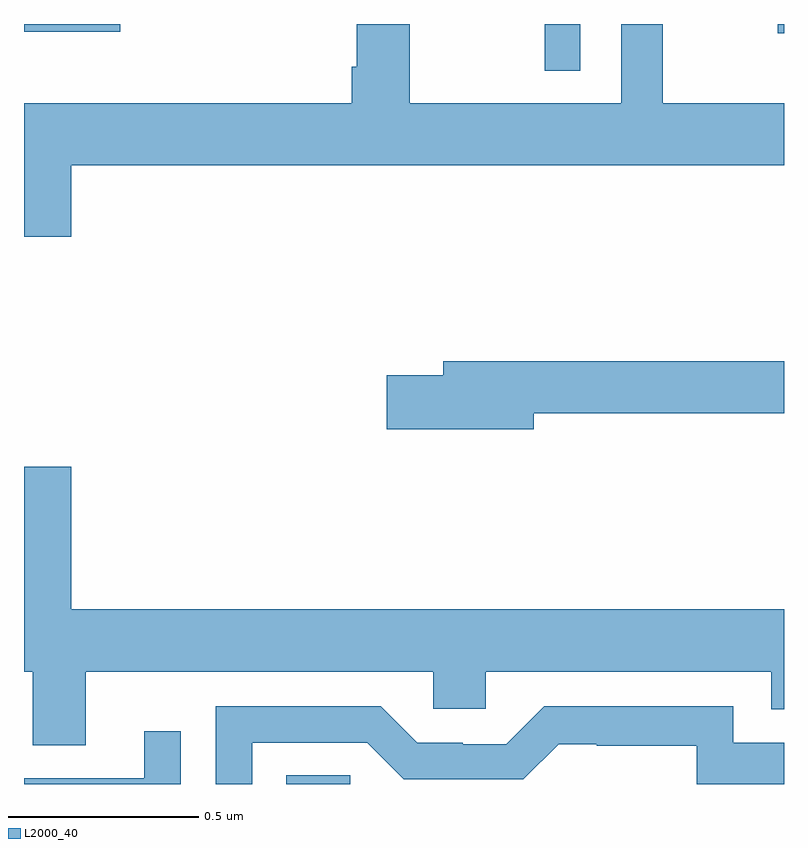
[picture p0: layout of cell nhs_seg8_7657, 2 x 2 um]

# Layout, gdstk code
import gdstk
lib = gdstk.Library(unit=1e-6, precision=1e-09)
def R(c, l, rs):  # rectangles x0, y0, x1, y1
    for r in rs: c.add(gdstk.rectangle(r[:2], r[2:], *l))
def P(c, l, *ps):  # polygons
    for p in ps: c.add(gdstk.Polygon(p, *l))
L2000_40 = (2000, 40)

nhs_seg8_7657 = lib.new_cell('nhs_seg8_7657')
R(nhs_seg8_7657, L2000_40, [(213.69,1086.9,213.859,1086.923), (214.371,1088.777,214.464,1088.9), (214.983,1088.876,215,1088.9)])
P(nhs_seg8_7657, L2000_40, [(213.124,1088.528),(215,1088.528),(215,1088.692),(214.681,1088.692),(214.681,1088.9),(214.572,1088.9),(214.572,1088.692),(214.015,1088.692),(214.015,1088.9),(213.875,1088.9),(213.875,1088.788),(213.863,1088.788),(213.863,1088.692),(213,1088.692),(213,1088.34),(213.124,1088.34)],
  [(213.253,1088.9),(213,1088.9),(213,1088.88),(213.035,1088.88),(213.035,1088.879),(213.253,1088.879)],
  [(214.342,1087.876),(215,1087.876),(215,1088.012),(214.103,1088.012),(214.103,1087.976),(213.954,1087.976),(213.954,1087.834),(214.342,1087.834)],
  [(213.163,1087.196),(214.077,1087.196),(214.077,1087.098),(214.215,1087.098),(214.215,1087.196),(214.967,1087.196),(214.967,1087.097),(215,1087.097),(215,1087.36),(213.124,1087.36),(213.124,1087.735),(213,1087.735),(213,1087.196),(213.023,1087.196),(213.023,1087.002),(213.163,1087.002)],
  [(213.6,1087.008),(213.903,1087.008),(213.999,1086.912),(214.314,1086.912),(214.407,1087.005),(214.507,1087.005),(214.507,1087.001),(214.77,1087.001),(214.77,1086.9),(215,1086.9),(215,1087.008),(214.866,1087.008),(214.866,1087.105),(214.369,1087.105),(214.269,1087.005),(214.154,1087.005),(214.154,1087.008),(214.035,1087.008),(213.939,1087.104),(213.504,1087.104),(213.504,1086.9),(213.6,1086.9)],
  [(213.413,1087.039),(213.317,1087.039),(213.317,1086.915),(213,1086.915),(213,1086.9),(213.413,1086.9)])

lib.write_gds('nhs_seg8_7657.gds')
